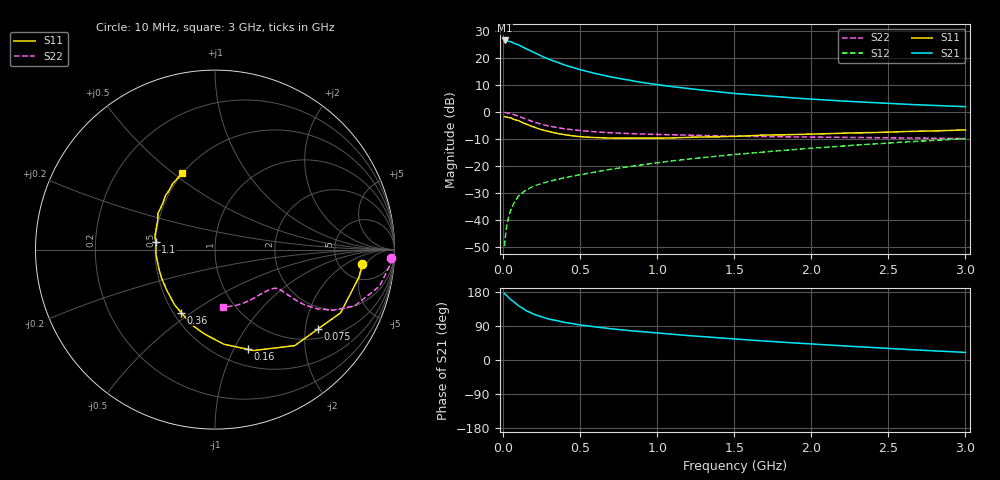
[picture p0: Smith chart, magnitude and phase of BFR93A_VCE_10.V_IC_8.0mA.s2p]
! Infineon Technologies  Discrete & RF Semiconductors
! BFR93A
! VCE =  10. V,  IC =  8.0 mA
! Common Emitter S-Parameters:  Nov 2015
# GHz  S  MA  R  50
!  f  S11  S21  S12  S22
! GHz  MAG  ANG  MAG  ANG  MAG  ANG  MAG  ANG
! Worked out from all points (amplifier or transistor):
!   180 points, 10 MHz to 3 GHz, reference 50 ohm
!   highest |S21| = 26.5 dB at 10 MHz (marker M1)
!   |S21| within 3 dB of that: start of sweep to 147.6 MHz
!   unconditionally stable (mu >= 1): 666.1 MHz to 2.546 GHz
!   at 160 MHz: K = 0.43, MSG = 25.8 dB, |S12| = -28.5 dB
!   at 1.22 GHz: K = 1.09, MAG = 11.1 dB, |S12| = -17.3 dB
!   at 3 GHz: K = 0.95, MSG = 5.9 dB, |S12| = -9.8 dB
!   S11 on the Smith chart (normalised r, x): 10 MHz: 8.41, -4.08; 75 MHz: 1.25, -2.33; 160 MHz: 0.67, -1.14; 360 MHz: 0.55, -0.46; 1.1 GHz: 0.50, +0.05; 3 GHz: 0.49, +0.54
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0.01  0.8248 -5.4  21.14 175.2  0.0033 85.1  0.9837 -2.7
0.02  0.8166 -10.8  20.95 171.1  0.0066 82.4  0.977 -5.3
0.05  0.7836 -26.7  20.01 159.3  0.0156 76.6  0.9386 -12.6
0.075  0.7239 -37.8  18.59 151.6  0.0217 70.4  0.886 -17.0
0.1  0.6953 -50.3  17.55 142.9  0.028 66.9  0.8392 -21.9
0.15  0.6021 -69.1  14.85 130.0  0.0363 60.8  0.7357 -27.4
0.16  0.5843 -71.9  14.38 128.4  0.0376 60.1  0.7194 -27.9
0.2  0.5291 -84.7  12.62 120.6  0.0427 57.9  0.6548 -30.2
0.26  0.4637 -99.7  10.54 112.2  0.0486 56.2  0.5843 -31.7
0.3  0.4352 -108.1  9.421 107.7  0.0522 56.2  0.5481 -32.0
0.36  0.3981 -118.3  8.187 103.0  0.0574 56.7  0.5122 -31.9
0.4  0.3814 -126.1  7.404 99.0  0.0609 57.0  0.4883 -31.9
0.52  0.3475 -142.2  5.892 91.5  0.0711 58.4  0.4482 -31.7
0.6  0.3376 -151.6  5.154 87.1  0.0781 59.3  0.4296 -31.6
0.7  0.3305 -160.6  4.471 82.4  0.0874 60.3  0.4137 -31.9
0.9  0.3301 -175.8  3.535 74.7  0.1056 61.6  0.3921 -33.4
1.02  0.3287 177.0  3.153 70.5  0.1172 61.8  0.3843 -34.6
1.1  0.3329 172.9  2.944 67.7  0.1249 61.9  0.379 -35.8
1.52  0.3567 154.1  2.188 54.9  0.1657 61.0  0.3582 -42.9
2.02  0.3907 137.8  1.722 41.7  0.216 58.6  0.3436 -53.8
2.52  0.4286 124.7  1.437 30.2  0.2692 54.7  0.3339 -66.7
3  0.4673 113.3  1.257 20.1  0.3228 50.4  0.3238 -81.8
